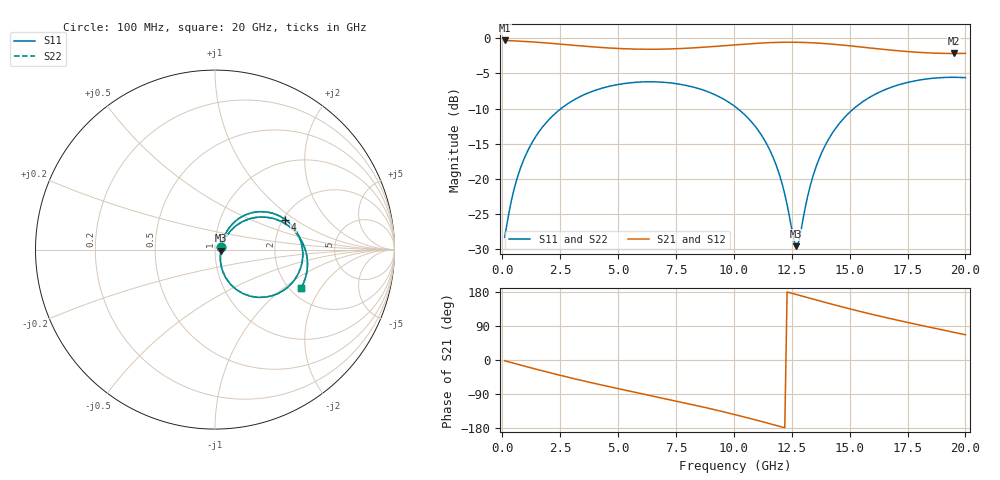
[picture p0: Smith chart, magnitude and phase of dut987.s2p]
! Touchstone file exported from HFSS 2026.1.0
!  File:  C:/ffzhzh/LocalFiles/Ansys_Project_Files/temp_train_TSV_RDL_987_1783287850_5512.aedt
!  Generated:  05:55:30 AM Jul  6, 2026
!  Design:  TSV_RDL
!  Project:  temp_train_TSV_RDL_987_1783287850_5512
! Variables:
!  h_bsmrdl = 2.74um
!  h_ox = 20um
!  h_rdl = 5um
!  h_sub = 71.36um
!  h_tmrdl = 3.02um
!  h_tsv = 71.36um
!  h_via = 3um
!  l_bsmrdl = 870.52um
!  l_sub = 4854.2um
!  l_tmrdl = 430.09um
!  m_sub = 200um
!  pitch = 38.47um
!  r_tsv = 9.65um
!  s_tmrdl = 10um
!  w_bsmrdl = 12.18um
!  w_sub = 500um
!  w_tmrdl = 28.58um
!  x_tsv_center1 = 444.38um
!  x_tsv_center2 = 1327.08um
!  x_tsv_center3 = 1785.75um
!  x_tsv_center4 = 2668.45um
!  x_tsv_center5 = 3127.12um
!  x_tsv_center6 = 4009.82um
# GHz S MA R 50.000000
! Terminal data exported
! Port[1] = TM_RDL1_1_T1
! Port[2] = TM_RDL5_1_T1
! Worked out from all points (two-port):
!   200 points, 100 MHz to 20 GHz, reference 50 ohm
!   highest |S21| = -0.31 dB at 100 MHz (marker M1); lowest = -2.2 dB at 19.5 GHz (marker M2)
!   |S21| within 3 dB of the highest: start of sweep to end of sweep
!   lowest |S11| = -29.6 dB at 12.7 GHz (marker M3), VSWR 1.07, Z = 53.4 - j0.7 ohm
!   |S11| at or under -10 dB: start of sweep to 2.536 GHz; 10.16 GHz to 15.18 GHz (5.015 GHz wide, 39.6 % of centre)
!   |S22| runs from -29.3 to -5.5 dB; largest |S21 - S12| = 1.8e-14
!   S11 on the Smith chart (normalised r, x): 100 MHz: 1.07, +0.03; 4 GHz: 2.05, +0.84; 20 GHz: 2.28, -1.35
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0.1  0.03839 22.5  0.9649 -1.8  0.9649 -1.8  0.03839 22.5
! Gamma 0 0 0 0
! Port Impedance 50 0 50 0
0.6  0.09595 55.5  0.9568 -10.3  0.9568 -10.3  0.09595 55.5
1.2  0.1708 55.8  0.9444 -20.1  0.9444 -20.1  0.1708 55.8
2.2  0.2834 45.8  0.9179 -35.9  0.9179 -35.9  0.2834 45.8
3.5  0.3946 29.5  0.8796 -55.0  0.8796 -55.0  0.3946 29.5
4  0.4258 23.2  0.8664 -62.0  0.8664 -62.0  0.4257 23.2
5.4  0.4799 5.8  0.8408 -80.8  0.8408 -80.8  0.4799 5.8
6.8  0.4885 -11.3  0.8364 -99.0  0.8364 -99.0  0.4884 -11.2
8.6  0.4326 -33.8  0.8618 -123.1  0.8618 -123.1  0.4326 -33.7
10.1  0.3224 -53.2  0.8998 -145.0  0.8998 -145.0  0.3224 -53.1
11  0.2275 -64.4  0.9214 -159.1  0.9214 -159.1  0.2276 -64.1
11.7  0.1417 -70.2  0.933 -170.5  0.933 -170.5  0.1419 -69.8
12.1  0.09046 -68.7  0.9365 -177.2  0.9365 -177.2  0.09072 -68.1
12.7  0.03326 -11.4  0.9366 172.7  0.9366 172.7  0.03421 -11.2
12.8  0.03579 10.1  0.936 171.0  0.936 171.0  0.0367 9.7
13.4  0.1023 49.7  0.9285 161.0  0.9285 161.0  0.1027 49.2
14  0.1799 48.4  0.9153 151.0  0.9153 151.0  0.1802 48.2
14.7  0.2644 41.0  0.8944 139.8  0.8944 139.8  0.2646 40.9
16.7  0.4422 15.6  0.8263 110.0  0.8263 110.0  0.4423 15.5
18.1  0.5073 -1.6  0.7921 91.2  0.7921 91.2  0.5074 -1.7
19.5  0.5279 -18.3  0.7795 73.1  0.7795 73.1  0.5279 -18.3
20  0.5246 -24.2  0.7808 66.6  0.7808 66.6  0.5246 -24.1
